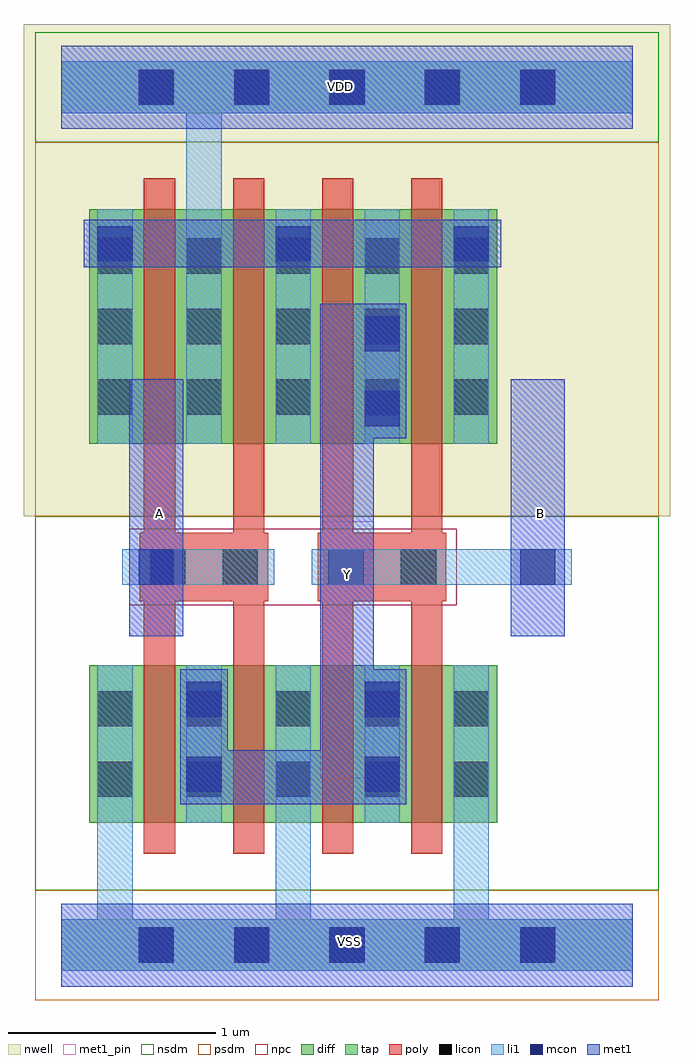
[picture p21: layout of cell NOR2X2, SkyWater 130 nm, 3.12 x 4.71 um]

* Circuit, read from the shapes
.subckt NOR2X2 A B VDD VSS Y
XM1 Y A VSS VSS sky130_fd_pr__nfet_01v8 w=0.76 l=0.15 m=2
XM2 Y B VSS VSS sky130_fd_pr__nfet_01v8 w=0.76 l=0.15 m=2
XM3 VDD A n1 VDD sky130_fd_pr__pfet_01v8 w=1.13 l=0.15 m=2
XM4 Y B n1 VDD sky130_fd_pr__pfet_01v8 w=1.13 l=0.15 m=2
.ends

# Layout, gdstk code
from math import pi, radians
import gdstk
lib = gdstk.Library(unit=1e-6, precision=1e-09)
def R(c, l, rs):  # rectangles x0, y0, x1, y1
    for r in rs: c.add(gdstk.rectangle(r[:2], r[2:], *l))
def A(c, l, x, y, w, h, nx, ny, dx, dy):  # array of equal rectangles
    R(c, l, [(x+i*dx, y+j*dy, x+i*dx+w, y+j*dy+h) for i in range(nx) for j in range(ny)])
nwell = (64, 20)
diff = (65, 20)
tap = (65, 44)
poly = (66, 20)
licon = (66, 44)
li1 = (67, 20)
mcon = (67, 44)
met1_pin = (68, 16)
met1 = (68, 20)
nsdm = (93, 44)
psdm = (94, 20)
npc = (95, 20)

nfet_01v8_cdns_716492285 = lib.new_cell('nfet_01v8_CDNS_71649228522125')
R(nfet_01v8_cdns_716492285, diff, [(-0.055,0,0,0.76), (0,0,0.15,0.76), (0.15,0,0.43,0.76), (0.43,0,0.58,0.76), (0.58,0,0.845,0.76)])
R(nfet_01v8_cdns_716492285, poly, [(0,-0.15,0.15,-0.095), (0.43,-0.15,0.58,-0.095), (0,-0.095,0.15,0), (0.43,-0.095,0.58,0), (0,0,0.15,0.76), (0.43,0,0.58,0.76), (0,0.76,0.15,0.855), (0.43,0.76,0.58,0.855), (0,0.855,0.15,0.91), (0.43,0.855,0.58,0.91)])
R(nfet_01v8_cdns_716492285, licon, [(0.205,0.125,0.375,0.295), (0.635,0.125,0.805,0.295), (0.205,0.465,0.375,0.635), (0.635,0.465,0.805,0.635)])
R(nfet_01v8_cdns_716492285, li1, [(0.205,0,0.375,0.76), (0.635,0,0.805,0.76)])
R(nfet_01v8_cdns_716492285, nsdm, [(-0.065,-0.13,0.985,0.89)])

pfet_01v8_cdns_716492285 = lib.new_cell('pfet_01v8_CDNS_71649228522138')
R(pfet_01v8_cdns_716492285, nwell, [(-0.445,-0.18,0.815,1.31)])
R(pfet_01v8_cdns_716492285, diff, [(-0.265,0,0,1.13), (0,0,0.15,1.13), (0.15,0,0.43,1.13), (0.43,0,0.58,1.13), (0.58,0,0.635,1.13)])
R(pfet_01v8_cdns_716492285, poly, [(0,-0.15,0.15,-0.095), (0.43,-0.15,0.58,-0.095), (0,-0.095,0.15,0), (0.43,-0.095,0.58,0), (0,0,0.15,1.13), (0.43,0,0.58,1.13), (0,1.13,0.15,1.225), (0.43,1.13,0.58,1.225), (0,1.225,0.15,1.28), (0.43,1.225,0.58,1.28)])
A(pfet_01v8_cdns_716492285, licon, -0.225, 0.14, 0.17, 0.17, 1, 3, 0, 0.34)
A(pfet_01v8_cdns_716492285, licon, 0.205, 0.14, 0.17, 0.17, 1, 3, 0, 0.34)
R(pfet_01v8_cdns_716492285, li1, [(-0.225,0,-0.055,1.13), (0.205,0,0.375,1.13)])
R(pfet_01v8_cdns_716492285, psdm, [(-0.405,-0.13,0.645,1.26)])

c_pfet_01v8_cdns_716492285 = lib.new_cell('pfet_01v8_CDNS_7164922852267')
R(c_pfet_01v8_cdns_716492285, nwell, [(-0.445,-0.18,0.985,1.31)])
R(c_pfet_01v8_cdns_716492285, diff, [(-0.265,0,0,1.13), (0,0,0.15,1.13), (0.15,0,0.43,1.13), (0.43,0,0.58,1.13), (0.58,0,0.805,1.13)])
R(c_pfet_01v8_cdns_716492285, poly, [(0,-0.15,0.15,-0.095), (0.43,-0.15,0.58,-0.095), (0,-0.095,0.15,0), (0.43,-0.095,0.58,0), (0,0,0.15,1.13), (0.43,0,0.58,1.13), (0,1.13,0.15,1.225), (0.43,1.13,0.58,1.225), (0,1.225,0.15,1.28), (0.43,1.225,0.58,1.28)])
A(c_pfet_01v8_cdns_716492285, licon, -0.225, 0.14, 0.17, 0.17, 3, 3, 0.43, 0.34)
A(c_pfet_01v8_cdns_716492285, li1, -0.225, 0, 0.17, 1.13, 3, 1, 0.43, 0)
R(c_pfet_01v8_cdns_716492285, psdm, [(-0.405,-0.13,0.815,1.26)])

c_nfet_01v8_cdns_716492285 = lib.new_cell('nfet_01v8_CDNS_71649228522124')
R(c_nfet_01v8_cdns_716492285, diff, [(-0.265,0,0,0.76), (0,0,0.15,0.76), (0.15,0,0.43,0.76), (0.43,0,0.58,0.76), (0.58,0,0.805,0.76)])
R(c_nfet_01v8_cdns_716492285, poly, [(0,-0.15,0.15,-0.095), (0.43,-0.15,0.58,-0.095), (0,-0.095,0.15,0), (0.43,-0.095,0.58,0), (0,0,0.15,0.76), (0.43,0,0.58,0.76), (0,0.76,0.15,0.855), (0.43,0.76,0.58,0.855), (0,0.855,0.15,0.91), (0.43,0.855,0.58,0.91)])
A(c_nfet_01v8_cdns_716492285, licon, -0.225, 0.125, 0.17, 0.17, 3, 2, 0.43, 0.34)
A(c_nfet_01v8_cdns_716492285, li1, -0.225, 0, 0.17, 0.76, 3, 1, 0.43, 0)
R(c_nfet_01v8_cdns_716492285, nsdm, [(-0.405,-0.13,0.815,0.89)])

pyl1con_c_cdns_716492285 = lib.new_cell('PYL1CON_C_CDNS_716492285220')
R(pyl1con_c_cdns_716492285, poly, [(-0.135,-0.165,0.135,0.165)])
R(pyl1con_c_cdns_716492285, licon, [(-0.085,-0.085,0.085,0.085)])
R(pyl1con_c_cdns_716492285, npc, [(-0.185,-0.185,0.185,0.185)])

l1m1_c_cdns_716492285225 = lib.new_cell('L1M1_C_CDNS_716492285225')
R(l1m1_c_cdns_716492285225, li1, [(-0.085,-0.345,0.085,0.345)])
R(l1m1_c_cdns_716492285225, mcon, [(-0.085,-0.265,0.085,-0.095), (-0.085,0.095,0.085,0.265)])
R(l1m1_c_cdns_716492285225, met1, [(-0.115,-0.325,0.115,0.325)])

l1m1_c_cdns_716492285223 = lib.new_cell('L1M1_C_CDNS_716492285223')
R(l1m1_c_cdns_716492285223, li1, [(-0.165,-0.085,0.165,0.085)])
R(l1m1_c_cdns_716492285223, mcon, [(-0.085,-0.085,0.085,0.085)])
R(l1m1_c_cdns_716492285223, met1, [(-0.115,-0.145,0.115,0.145)])

l1m1_c_cdns_716492285226 = lib.new_cell('L1M1_C_CDNS_716492285226')
R(l1m1_c_cdns_716492285226, li1, [(-0.085,-0.165,0.085,0.165)])
R(l1m1_c_cdns_716492285226, mcon, [(-0.085,-0.085,0.085,0.085)])
R(l1m1_c_cdns_716492285226, met1, [(-0.145,-0.115,0.145,0.115)])

nor2x2 = lib.new_cell('NOR2X2')
R(nor2x2, nwell, [(-0.18,2.07,2.94,4.345), (-0.18,3.875,2.94,4.445)])
R(nor2x2, poly, [(0.38,1.66,1,1.99), (1.24,1.66,1.86,1.99)])
A(nor2x2, licon, 0.375, -0.085, 0.17, 0.17, 5, 2, 0.46, 4.14)
A(nor2x2, mcon, 0.375, -0.085, 0.17, 0.17, 5, 2, 0.46, 4.14)
R(nor2x2, met1_pin, [(1.25,0.805,1.51,2.045), (0.33,1.49,0.59,2.73), (2.17,1.49,2.43,2.73)])
R(nor2x2, nsdm, [(-0.125,0.265,2.885,2.07), (-0.125,3.875,2.885,4.405), (-0.125,3.93,2.885,4.35)])
R(nor2x2, psdm, [(-0.125,-0.265,2.885,0.265), (-0.125,-0.21,2.885,0.21), (-0.125,2.07,2.885,3.875)])
R(nor2x2, npc, [(0.33,1.64,1.91,2.01)])
nor2x2.add(gdstk.FlexPath([(1.335,2.325),(1.335,1.445)], 0.15, ends="flush", simple_path=True, layer=66, datatype=20))  # poly
nor2x2.add(gdstk.FlexPath([(0.905,2.325),(0.905,1.445)], 0.15, ends="flush", simple_path=True, layer=66, datatype=20))  # poly
nor2x2.add(gdstk.FlexPath([(0.475,2.325),(0.475,1.445)], 0.15, ends="flush", simple_path=True, layer=66, datatype=20))  # poly
nor2x2.add(gdstk.FlexPath([(1.765,2.325),(1.765,1.445)], 0.15, ends="flush", simple_path=True, layer=66, datatype=20))  # poly
nor2x2.add(gdstk.FlexPath([(0.26,0.59),(0.26,0)], 0.17, ends="flush", simple_path=True, layer=67, datatype=20))  # li1
nor2x2.add(gdstk.FlexPath([(1.12,0.59),(1.12,0)], 0.17, ends="flush", simple_path=True, layer=67, datatype=20))  # li1
nor2x2.add(gdstk.FlexPath([(1.98,0.59),(1.98,0)], 0.17, ends="flush", simple_path=True, layer=67, datatype=20))  # li1
nor2x2.add(gdstk.FlexPath([(1.03,1.825),(0.35,1.825)], 0.17, ends="flush", simple_path=True, layer=67, datatype=20))  # li1
nor2x2.add(gdstk.FlexPath([(2.135,1.825),(1.21,1.825)], 0.17, ends="flush", simple_path=True, layer=67, datatype=20))  # li1
nor2x2.add(gdstk.FlexPath([(0,0),(2.76,0)], 0.25, ends="flush", simple_path=True, layer=67, datatype=20))  # li1
nor2x2.add(gdstk.FlexPath([(0.69,4.14),(0.215,4.14)], 0.17, ends=(0.085, 0), simple_path=True, layer=67, datatype=20))  # li1
nor2x2.add(gdstk.FlexPath([(0,4.14),(2.76,4.14)], 0.25, ends="flush", simple_path=True, layer=67, datatype=20))  # li1
nor2x2.add(gdstk.FlexPath([(0.69,3.39),(0.69,4.14)], 0.17, ends=(0, 0.085), simple_path=True, layer=67, datatype=20))  # li1
nor2x2.add(gdstk.FlexPath([(0.46,1.49),(0.46,2.73)], 0.26, ends="flush", simple_path=True, layer=68, datatype=20))  # met1
nor2x2.add(gdstk.FlexPath([(1.38,0.81),(0.69,0.81)], 0.26, ends=(0.13, 0.115), simple_path=True, layer=68, datatype=20))  # met1
nor2x2.add(gdstk.FlexPath([(1.38,3.095),(1.38,0.68)], 0.26, ends="flush", simple_path=True, layer=68, datatype=20))  # met1
nor2x2.add(gdstk.FlexPath([(0.69,0.83),(0.69,1.005)], 0.23, ends=(0.13, 0), simple_path=True, layer=68, datatype=20))  # met1
nor2x2.add(gdstk.FlexPath([(0,0),(2.76,0)], 0.4, ends="flush", simple_path=True, layer=68, datatype=20))  # met1
nor2x2.add(gdstk.FlexPath([(2.12,3.385),(0.255,3.385)], 0.23, ends=(0, 0.145), simple_path=True, layer=68, datatype=20))  # met1
nor2x2.add(gdstk.FlexPath([(2.3,1.49),(2.3,2.73)], 0.26, ends="flush", simple_path=True, layer=68, datatype=20))  # met1
nor2x2.add(gdstk.FlexPath([(0,4.14),(2.76,4.14)], 0.4, ends="flush", simple_path=True, layer=68, datatype=20))  # met1
nor2x2.add(gdstk.FlexPath([(0,0),(2.76,0)], 0.25, ends="flush", simple_path=True, layer=65, datatype=44))  # tap
nor2x2.add(gdstk.FlexPath([(0,4.14),(2.76,4.14)], 0.25, ends="flush", simple_path=True, layer=65, datatype=44))  # tap
nor2x2.add(gdstk.FlexPath([(0,0),(2.76,0)], 0.4, ends="flush", simple_path=True, layer=68, datatype=16))  # met1_pin
nor2x2.add(gdstk.FlexPath([(0,4.14),(2.76,4.14)], 0.4, ends="flush", simple_path=True, layer=68, datatype=16))  # met1_pin
nor2x2.add(gdstk.Reference(nfet_01v8_cdns_716492285, (1.26,0.59)))
nor2x2.add(gdstk.Reference(pfet_01v8_cdns_716492285, (1.84,2.42), rotation=pi, x_reflection=True))
nor2x2.add(gdstk.Reference(c_pfet_01v8_cdns_716492285, (0.4,2.42)))
nor2x2.add(gdstk.Reference(c_nfet_01v8_cdns_716492285, (0.4,0.59)))
nor2x2.add(gdstk.Reference(pyl1con_c_cdns_716492285, (1.725,1.825), rotation=pi, x_reflection=True))
nor2x2.add(gdstk.Reference(pyl1con_c_cdns_716492285, (1.375,1.825), rotation=pi, x_reflection=True))
nor2x2.add(gdstk.Reference(pyl1con_c_cdns_716492285, (0.515,1.825), rotation=pi, x_reflection=True))
nor2x2.add(gdstk.Reference(pyl1con_c_cdns_716492285, (0.865,1.825), rotation=pi, x_reflection=True))
nor2x2.add(gdstk.Reference(l1m1_c_cdns_716492285225, (1.55,2.77)))
nor2x2.add(gdstk.Reference(l1m1_c_cdns_716492285225, (0.69,1.005)))
nor2x2.add(gdstk.Reference(l1m1_c_cdns_716492285225, (1.55,1.005)))
nor2x2.add(gdstk.Reference(l1m1_c_cdns_716492285223, (2.3,1.825), x_reflection=True))
nor2x2.add(gdstk.Reference(l1m1_c_cdns_716492285223, (0.46,1.825), x_reflection=True))
nor2x2.add(gdstk.Reference(l1m1_c_cdns_716492285226, (0.26,3.385)))
nor2x2.add(gdstk.Reference(l1m1_c_cdns_716492285226, (1.98,3.385)))
nor2x2.add(gdstk.Reference(l1m1_c_cdns_716492285226, (1.12,3.385)))
nor2x2.add(gdstk.Label('Y', (1.38,1.79), layer=68, texttype=5))
nor2x2.add(gdstk.Label('VDD', (1.35,4.145), layer=68, texttype=5))
nor2x2.add(gdstk.Label('VSS', (1.39,0.015), layer=68, texttype=5))
nor2x2.add(gdstk.Label('B', (2.315,2.085), layer=68, texttype=5))
nor2x2.add(gdstk.Label('A', (0.475,2.085), layer=68, texttype=5))

lib.write_gds('NOR2X2.gds')
